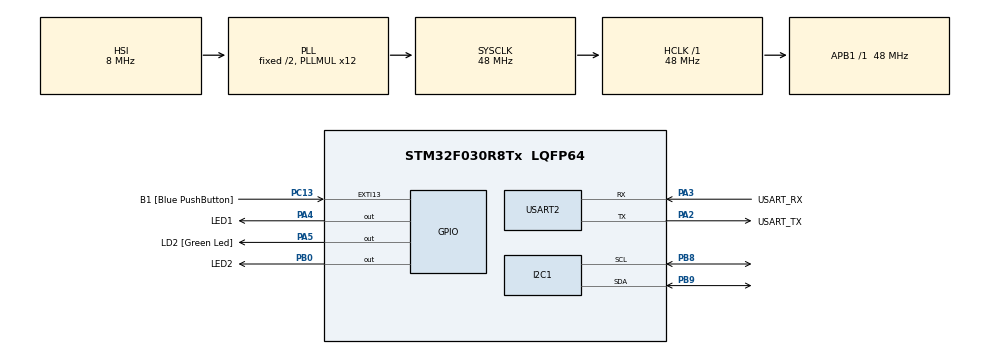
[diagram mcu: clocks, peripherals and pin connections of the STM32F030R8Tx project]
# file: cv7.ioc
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FREERTOS.Queues01=xVisualQueue,16,int16_t,0,Dynamic,NULL,NULL
FREERTOS.Tasks01=defaultTask,0,128,StartDefaultTask,Default,NULL,Dynamic,NULL,NULL;VisualTask,0,128,StartVisualTask,Default,NULL,Dynamic,NULL,NULL;AcceleroTask,0,128,StartAcceleroTask,Default,NULL,Dynamic,NULL,NULL
FREERTOS.configUSE_NEWLIB_REENTRANT=1
I2C1.Timing=0x00201D2B
Mcu.Family=STM32F0
Mcu.Name=STM32F030R8Tx
Mcu.Package=LQFP64
NVIC.TIM14_IRQn=true\:3\:0\:false\:false\:true\:false\:false\:true\:true
NVIC.TimeBase=TIM14_IRQn
NVIC.TimeBaseIP=TIM14
PA13.GPIO_Label=TMS
PA13.Mode=Serial_Wire
PA13.Signal=SYS_SWDIO
PA14.GPIO_Label=TCK
PA14.Mode=Serial_Wire
PA14.Signal=SYS_SWCLK
PA2.GPIO_Label=USART_TX
PA2.GPIO_Mode=GPIO_MODE_AF_PP
PA2.GPIO_PuPd=GPIO_NOPULL
PA2.GPIO_Speed=GPIO_SPEED_FREQ_LOW
PA2.Mode=Asynchronous
PA2.Signal=USART2_TX
PA3.GPIO_Label=USART_RX
PA3.GPIO_Mode=GPIO_MODE_AF_PP
PA3.GPIO_PuPd=GPIO_NOPULL
PA3.GPIO_Speed=GPIO_SPEED_FREQ_LOW
PA3.Mode=Asynchronous
PA3.Signal=USART2_RX
PA4.GPIO_Label=LED1
PA4.Signal=GPIO_Output
PA5.GPIO_Label=LD2 [Green Led]
PA5.GPIO_Mode=GPIO_MODE_OUTPUT_PP
PA5.GPIO_PuPd=GPIO_NOPULL
PA5.GPIO_Speed=GPIO_SPEED_FREQ_LOW
PA5.Signal=GPIO_Output
PB0.GPIO_Label=LED2
PB0.Signal=GPIO_Output
PB8.Mode=I2C
PB8.Signal=I2C1_SCL
PB9.Mode=I2C
PB9.Signal=I2C1_SDA
PC13.GPIO_Label=B1 [Blue PushButton]
PC13.GPIO_ModeDefaultEXTI=GPIO_MODE_IT_FALLING
PC13.Signal=GPXTI13
PC14-OSC32_IN.Mode=LSE-External-Oscillator
PC14-OSC32_IN.Signal=RCC_OSC32_IN
PC15-OSC32_OUT.Mode=LSE-External-Oscillator
PC15-OSC32_OUT.Signal=RCC_OSC32_OUT
PF0-OSC_IN.Mode=HSE-External-Clock-Source
PF0-OSC_IN.Signal=RCC_OSC_IN
PF1-OSC_OUT.Signal=RCC_OSC_OUT
ProjectManager.HeapSize=0x200
ProjectManager.StackSize=0x400
ProjectManager.TargetToolchain=STM32CubeIDE
RCC.AHBFreq_Value=48000000
RCC.APB1Freq_Value=48000000
RCC.APB1TimFreq_Value=48000000
RCC.HCLKFreq_Value=48000000
RCC.PLLMUL=RCC_PLL_MUL12
RCC.SYSCLKFreq_VALUE=48000000
RCC.SYSCLKSource=RCC_SYSCLKSOURCE_PLLCLK
USART2.VirtualMode-Asynchronous=VM_ASYNC
VP_FREERTOS_VS_CMSIS_V1.Mode=CMSIS_V1
VP_SYS_VS_tim14.Mode=TIM14
board=NUCLEO-F030R8

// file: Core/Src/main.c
/* USER CODE BEGIN Header */
/**
  ******************************************************************************
  * @file           : main.c
  * @brief          : Main program body
  ******************************************************************************
  * @attention
  *
  * Copyright (c) 2025 STMicroelectronics.
  * All rights reserved.
  *
  * This software is licensed under terms that can be found in the LICENSE file
  * in the root directory of this software component.
  * If no LICENSE file comes with this software, it is provided AS-IS.
  *
  ******************************************************************************
  */
/* USER CODE END Header */
#include "main.h"
#include "cmsis_os.h"

/* USER CODE BEGIN Includes */
#include <stdio.h>
/* USER CODE END Includes */

I2C_HandleTypeDef hi2c1;

UART_HandleTypeDef huart2;

osThreadId defaultTaskHandle;
osThreadId VisualTaskHandle;
osThreadId AcceleroTaskHandle;
osMessageQId xVisualQueueHandle;

void SystemClock_Config(void);
static void MX_GPIO_Init(void);
static void MX_USART2_UART_Init(void);
static void MX_I2C1_Init(void);
void StartDefaultTask(void const * argument);
void StartVisualTask(void const * argument);
void StartAcceleroTask(void const * argument);

/* USER CODE BEGIN PFP */
static int32_t platform_write(void *handle, uint8_t reg, uint8_t *bufp, uint16_t len);
static int32_t platform_read(void *handle, uint8_t reg, uint8_t *bufp, uint16_t len);

/* USER CODE END PFP */

int main(void)
{

  /* MCU Configuration--------------------------------------------------------*/

  /* Reset of all peripherals, Initializes the Flash interface and the Systick. */
  HAL_Init();

  /* Configure the system clock */
  SystemClock_Config();

  /* Initialize all configured peripherals */
  MX_GPIO_Init();
  MX_USART2_UART_Init();
  MX_I2C1_Init();

  /* Create the queue(s) */
  /* definition and creation of xVisualQueue */
  osMessageQDef(xVisualQueue, 16, int16_t);
  xVisualQueueHandle = osMessageCreate(osMessageQ(xVisualQueue), NULL);

  /* Create the thread(s) */
  /* definition and creation of defaultTask */
  osThreadDef(defaultTask, StartDefaultTask, osPriorityNormal, 0, 128);
  defaultTaskHandle = osThreadCreate(osThread(defaultTask), NULL);

  /* definition and creation of VisualTask */
  osThreadDef(VisualTask, StartVisualTask, osPriorityNormal, 0, 128);
  VisualTaskHandle = osThreadCreate(osThread(VisualTask), NULL);

  /* definition and creation of AcceleroTask */
  osThreadDef(AcceleroTask, StartAcceleroTask, osPriorityNormal, 0, 128);
  AcceleroTaskHandle = osThreadCreate(osThread(AcceleroTask), NULL);

  /* Start scheduler */
  osKernelStart();

  /* We should never get here as control is now taken by the scheduler */

  /* Infinite loop */
  while (1)
  {

  }
}

void SystemClock_Config(void)
{
  RCC_OscInitTypeDef RCC_OscInitStruct = {0};
  RCC_ClkInitTypeDef RCC_ClkInitStruct = {0};
  RCC_PeriphCLKInitTypeDef PeriphClkInit = {0};

  /** Initializes the RCC Oscillators according to the specified parameters
  * in the RCC_OscInitTypeDef structure.
  */
  RCC_OscInitStruct.OscillatorType = RCC_OSCILLATORTYPE_HSI;
  RCC_OscInitStruct.HSIState = RCC_HSI_ON;
  RCC_OscInitStruct.HSICalibrationValue = RCC_HSICALIBRATION_DEFAULT;
  RCC_OscInitStruct.PLL.PLLState = RCC_PLL_ON;
  RCC_OscInitStruct.PLL.PLLSource = RCC_PLLSOURCE_HSI;
  RCC_OscInitStruct.PLL.PLLMUL = RCC_PLL_MUL12;
  RCC_OscInitStruct.PLL.PREDIV = RCC_PREDIV_DIV1;
  if (HAL_RCC_OscConfig(&RCC_OscInitStruct) != HAL_OK)
  {
    Error_Handler();
  }

  /** Initializes the CPU, AHB and APB buses clocks
  */
  RCC_ClkInitStruct.ClockType = RCC_CLOCKTYPE_HCLK|RCC_CLOCKTYPE_SYSCLK
                              |RCC_CLOCKTYPE_PCLK1;
  RCC_ClkInitStruct.SYSCLKSource = RCC_SYSCLKSOURCE_PLLCLK;
  RCC_ClkInitStruct.AHBCLKDivider = RCC_SYSCLK_DIV1;
  RCC_ClkInitStruct.APB1CLKDivider = RCC_HCLK_DIV1;

  if (HAL_RCC_ClockConfig(&RCC_ClkInitStruct, FLASH_LATENCY_1) != HAL_OK)
  {
    Error_Handler();
  }
  PeriphClkInit.PeriphClockSelection = RCC_PERIPHCLK_I2C1;
  PeriphClkInit.I2c1ClockSelection = RCC_I2C1CLKSOURCE_HSI;
  if (HAL_RCCEx_PeriphCLKConfig(&PeriphClkInit) != HAL_OK)
  {
    Error_Handler();
  }
}

static void MX_I2C1_Init(void)
{

  hi2c1.Instance = I2C1;
  hi2c1.Init.Timing = 0x00201D2B;
  hi2c1.Init.OwnAddress1 = 0;
  hi2c1.Init.AddressingMode = I2C_ADDRESSINGMODE_7BIT;
  hi2c1.Init.DualAddressMode = I2C_DUALADDRESS_DISABLE;
  hi2c1.Init.OwnAddress2 = 0;
  hi2c1.Init.OwnAddress2Masks = I2C_OA2_NOMASK;
  hi2c1.Init.GeneralCallMode = I2C_GENERALCALL_DISABLE;
  hi2c1.Init.NoStretchMode = I2C_NOSTRETCH_DISABLE;
  if (HAL_I2C_Init(&hi2c1) != HAL_OK)
  {
    Error_Handler();
  }

  /** Configure Analogue filter
  */
  if (HAL_I2CEx_ConfigAnalogFilter(&hi2c1, I2C_ANALOGFILTER_ENABLE) != HAL_OK)
  {
    Error_Handler();
  }

  /** Configure Digital filter
  */
  if (HAL_I2CEx_ConfigDigitalFilter(&hi2c1, 0) != HAL_OK)
  {
    Error_Handler();
  }

}

static void MX_USART2_UART_Init(void)
{

  huart2.Instance = USART2;
  huart2.Init.BaudRate = 38400;
  huart2.Init.WordLength = UART_WORDLENGTH_8B;
  huart2.Init.StopBits = UART_STOPBITS_1;
  huart2.Init.Parity = UART_PARITY_NONE;
  huart2.Init.Mode = UART_MODE_TX_RX;
  huart2.Init.HwFlowCtl = UART_HWCONTROL_NONE;
  huart2.Init.OverSampling = UART_OVERSAMPLING_16;
  huart2.Init.OneBitSampling = UART_ONE_BIT_SAMPLE_DISABLE;
  huart2.AdvancedInit.AdvFeatureInit = UART_ADVFEATURE_NO_INIT;
  if (HAL_UART_Init(&huart2) != HAL_OK)
  {
    Error_Handler();
  }

}

static void MX_GPIO_Init(void)
{
  GPIO_InitTypeDef GPIO_InitStruct = {0};

  /* GPIO Ports Clock Enable */
  __HAL_RCC_GPIOC_CLK_ENABLE();
  __HAL_RCC_GPIOF_CLK_ENABLE();
  __HAL_RCC_GPIOA_CLK_ENABLE();
  __HAL_RCC_GPIOB_CLK_ENABLE();

  /*Configure GPIO pin Output Level */
  HAL_GPIO_WritePin(GPIOA, LED1_Pin|LD2_Pin, GPIO_PIN_RESET);

  /*Configure GPIO pin Output Level */
  HAL_GPIO_WritePin(LED2_GPIO_Port, LED2_Pin, GPIO_PIN_RESET);

  /*Configure GPIO pin : B1_Pin */
  GPIO_InitStruct.Pin = B1_Pin;
  GPIO_InitStruct.Mode = GPIO_MODE_IT_FALLING;
  GPIO_InitStruct.Pull = GPIO_NOPULL;
  HAL_GPIO_Init(B1_GPIO_Port, &GPIO_InitStruct);

  /*Configure GPIO pins : LED1_Pin LD2_Pin */
  GPIO_InitStruct.Pin = LED1_Pin|LD2_Pin;
  GPIO_InitStruct.Mode = GPIO_MODE_OUTPUT_PP;
  GPIO_InitStruct.Pull = GPIO_NOPULL;
  GPIO_InitStruct.Speed = GPIO_SPEED_FREQ_LOW;
  HAL_GPIO_Init(GPIOA, &GPIO_InitStruct);

  /*Configure GPIO pin : LED2_Pin */
  GPIO_InitStruct.Pin = LED2_Pin;
  GPIO_InitStruct.Mode = GPIO_MODE_OUTPUT_PP;
  GPIO_InitStruct.Pull = GPIO_NOPULL;
  GPIO_InitStruct.Speed = GPIO_SPEED_FREQ_LOW;
  HAL_GPIO_Init(LED2_GPIO_Port, &GPIO_InitStruct);

}

/* USER CODE BEGIN 4 */
static int32_t platform_write(void *handle, uint8_t reg, uint8_t *bufp,
uint16_t len)
{
	HAL_I2C_Mem_Write(handle, LIS2DW12_I2C_ADD_H, reg, I2C_MEMADD_SIZE_8BIT, bufp, len, 1000);
	return 0;
}

static int32_t platform_read(void *handle, uint8_t reg, uint8_t *bufp, uint16_t len)
{
	HAL_I2C_Mem_Read(handle, LIS2DW12_I2C_ADD_H, reg, I2C_MEMADD_SIZE_8BIT, bufp, len, 1000);
	return 0;
}

int _write(int file, char const *buf, int n)
{
/* stdout redirection to UART2 */
	HAL_UART_Transmit(&huart2, (uint8_t*)(buf), n, HAL_MAX_DELAY);
	return n;
}

/* USER CODE END 4 */

void StartDefaultTask(void const * argument)
{
  for(;;)
  {
    osDelay(1);
  }
}

void StartVisualTask(void const * argument)
{
  /* USER CODE BEGIN StartVisualTask */
  /* Infinite loop */
  for(;;)
  {
	  int16_t msg;
	  if (xQueueReceive(xVisualQueueHandle, &msg, portMAX_DELAY))
	  {
		  if (msg < -1000)
		  {
			  //LED1 ON
			  HAL_GPIO_WritePin(LED1_GPIO_Port, LED1_Pin, 1);
			  HAL_GPIO_WritePin(LED2_GPIO_Port, LED2_Pin, 0);

		  }
		  else if (msg > 1000)
		  {
			  //LED 2 ON
			  HAL_GPIO_WritePin(LED2_GPIO_Port, LED2_Pin, 1);
			  HAL_GPIO_WritePin(LED1_GPIO_Port, LED1_Pin, 0);
		  }

	  }

  }
  /* USER CODE END StartVisualTask */
}

void StartAcceleroTask(void const * argument)
{
  /* USER CODE BEGIN StartAcceleroTask */
	static stmdev_ctx_t lis2dw12 = {
		.write_reg = platform_write,
		.read_reg = platform_read,
		.handle = &hi2c1,
	};
	lis2dw12_full_scale_set(&lis2dw12, LIS2DW12_2g);
	lis2dw12_power_mode_set(&lis2dw12, LIS2DW12_CONT_LOW_PWR_LOW_NOISE_2);
	lis2dw12_block_data_update_set(&lis2dw12, PROPERTY_ENABLE);
	// enable continuous FIFO
	lis2dw12_fifo_mode_set(&lis2dw12, LIS2DW12_STREAM_MODE);
	// enable part from power-down
	lis2dw12_data_rate_set(&lis2dw12, LIS2DW12_XL_ODR_25Hz);

  /* Infinite loop */
	for(;;)
	{
	  uint8_t samples;
	  uint16_t counter = 0;
	  int16_t raw_acceleration[3];
	  lis2dw12_fifo_data_level_get(&lis2dw12, &samples);
	  for (uint8_t i = 0; i < samples; i++) {
		  // Read acceleration data
		  lis2dw12_acceleration_raw_get(&lis2dw12, raw_acceleration);
	  }

	  xQueueSend(xVisualQueueHandle, &raw_acceleration[0], portMAX_DELAY);
	  if (counter >= 20)
	  {
		counter = 0;
		printf("X=%d Y=%d Z=%d\n", raw_acceleration[0], raw_acceleration[1], raw_acceleration[2]);
	  }
	  vTaskDelay(50);
	  counter++;

	  //vTaskDelay(50);

//    int16_t msg = 2000;
//    xQueueSend(xVisualQueueHandle, &msg, portMAX_DELAY);
//    vTaskDelay(300);
//
//    msg = 0;
//    xQueueSend(xVisualQueueHandle, &msg, portMAX_DELAY);
//    vTaskDelay(300);
//
//    msg  = -2000;
//    xQueueSend(xVisualQueueHandle, &msg, portMAX_DELAY);
//    vTaskDelay(300);
//
//    msg = 0;
//    xQueueSend(xVisualQueueHandle, &msg, portMAX_DELAY);
//    vTaskDelay(300);

  }
  /* USER CODE END StartAcceleroTask */
}

void HAL_TIM_PeriodElapsedCallback(TIM_HandleTypeDef *htim)
{
  if (htim->Instance == TIM14)
  {
    HAL_IncTick();
  }
}

void Error_Handler(void)
{
  __disable_irq();
  while (1)
  {
  }
}
